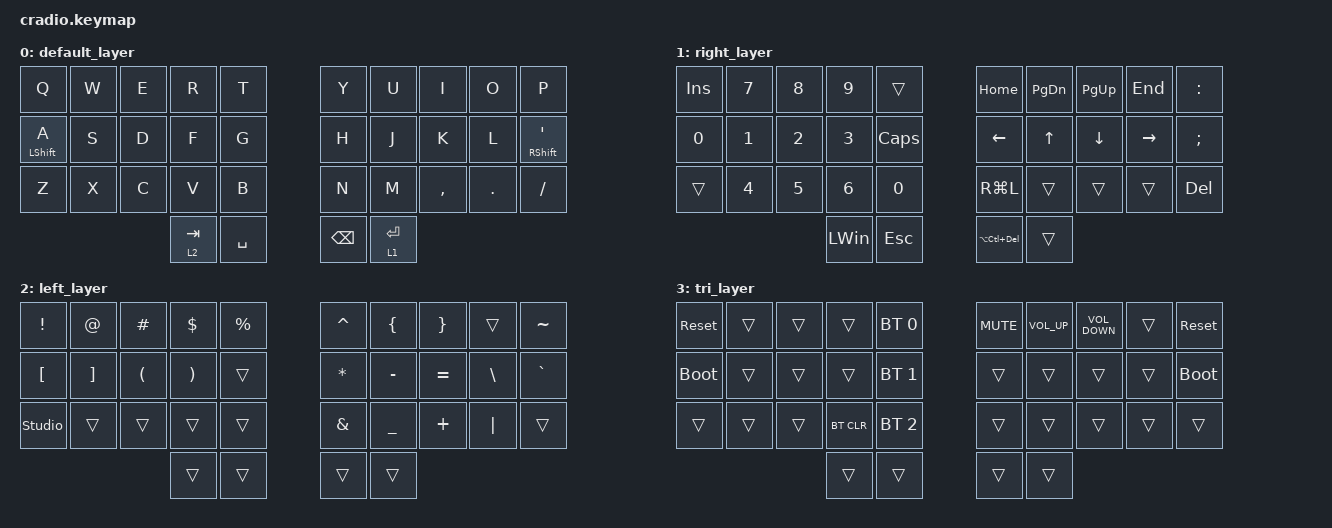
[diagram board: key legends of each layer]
// Copyright (c) 2022 The ZMK Contributors
// SPDX-License-Identifier: MIT

#define ZMK_POINTING_DEFAULT_MOVE_VAL 1500  // default: 600
#define ZMK_POINTING_DEFAULT_SCRL_VAL 20    // default: 10

#include <behaviors.dtsi>
#include <dt-bindings/zmk/bt.h>
#include <dt-bindings/zmk/keys.h>

/ {
    behaviors {
        ht: hold_tap {
            compatible = "zmk,behavior-hold-tap";
            #binding-cells = <2>;
            flavor = "tap-preferred";
            tapping-term-ms = <220>;
            quick-tap-ms = <150>;
            require-prior-idle-ms = <100>;
            bindings = <&kp>, <&kp>;
        };
    };

    conditional_layers {
        compatible = "zmk,conditional-layers";

        tri_layer {
            if-layers = <1 2>;
            then-layer = <3>;
        };
    };

    keymap {
        compatible = "zmk,keymap";

        default_layer {
            bindings = <
&kp Q             &kp W  &kp E  &kp R      &kp T        &kp Y          &kp U         &kp I      &kp O    &kp P
&mt LEFT_SHIFT A  &kp S  &kp D  &kp F      &kp G        &kp H          &kp J         &kp K      &kp L    &mt RSHIFT SQT
&kp Z             &kp X  &kp C  &kp V      &kp B        &kp N          &kp M         &kp COMMA  &kp DOT  &kp FSLH
                                &lt 2 TAB  &kp SPACE    &kp BACKSPACE  &lt 1 RETURN
            >;
        };

        right_layer {
            bindings = <
&kp INS  &kp N7  &kp N8  &kp N9        &trans      &kp HOME         &kp PG_DN  &kp PG_UP  &kp END    &kp COLON
&kp N0   &kp N1  &kp N2  &kp N3        &kp CAPS    &kp LEFT_ARROW   &kp UP     &kp DOWN   &kp RIGHT  &kp SEMI
&trans   &kp N4  &kp N5  &kp N6        &kp N0      &kp RG(L)        &trans     &trans     &trans     &kp DEL
                         &kp LEFT_WIN  &kp ESC     &kp LA(LC(DEL))  &trans
            >;
        };

        left_layer {
            bindings = <
&kp EXCL        &kp AT    &kp HASH  &kp DLLR  &kp PERCENT    &kp CARET     &kp LBRC   &kp RBRC   &trans    &kp TILDE
&kp LBKT        &kp RBKT  &kp LPAR  &kp RPAR  &trans         &kp ASTERISK  &kp MINUS  &kp EQUAL  &kp BSLH  &kp GRAVE
&studio_unlock  &trans    &trans    &trans    &trans         &kp AMPS      &kp UNDER  &kp PLUS   &kp PIPE  &trans
                                    &trans    &trans         &trans        &trans
            >;
        };

        tri_layer {
            bindings = <
&sys_reset   &trans  &trans  &trans      &bt BT_SEL 0    &kp K_MUTE  &kp C_VOLUME_UP  &kp C_VOLUME_DOWN  &trans  &sys_reset
&bootloader  &trans  &trans  &trans      &bt BT_SEL 1    &trans      &trans           &trans             &trans  &bootloader
&trans       &trans  &trans  &bt BT_CLR  &bt BT_SEL 2    &trans      &trans           &trans             &trans  &trans
                             &trans      &trans          &trans      &trans
            >;
        };
    };
};
